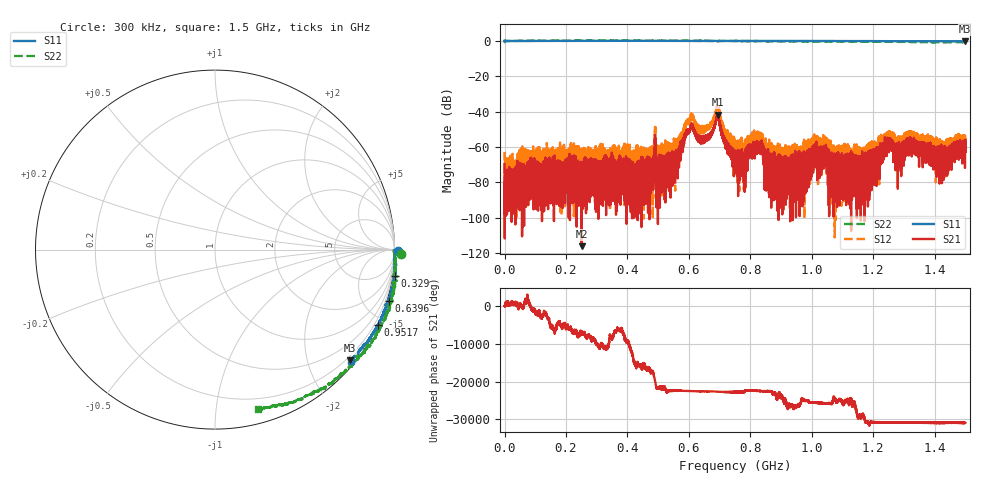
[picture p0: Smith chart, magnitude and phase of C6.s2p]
!Agilent Technologies,N5230C,SG49000117,A.08.50.07
!Agilent N5230C: A.08.50.07
!Date: Thursday, December 07, 2023 05:49:26
!Correction: S11(Full 2 Port(1,2))
!S21(Full 2 Port(1,2))
!S12(Full 2 Port(1,2))
!S22(Full 2 Port(1,2))
!S2P File: Measurements: S11, S21, S12, S22:
# Hz S  RI  R 50
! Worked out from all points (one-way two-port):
!   20001 points, 300 kHz to 1.5 GHz, reference 50 ohm
!   highest |S21| = -41.78 dB at 693.2 MHz (marker M1); lowest = -116.1 dB at 250.9 MHz (marker M2)
!   lowest |S11| = -0.2 dB at 1.497 GHz (marker M3), VSWR 72.33, Z = 6.09 - j140 ohm
!   |S11| at or under -10 dB: nowhere
!   |S22| runs from -0.8 to 0.3 dB; largest |S21 - S12| = 0.0081
!   S11 on the Smith chart (normalised r, x): 300 kHz: open; 329 MHz: -1, -14; 639.6 MHz: -0.22, -6.86; 951.7 MHz: -0.01, -4.54; 1.5 GHz: 0.11, -2.79
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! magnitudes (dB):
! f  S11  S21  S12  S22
! 300 kHz  0.2  -69.5  -62.8  0.3
! 31.64 MHz  0.0  -72.6  -71.6  0.0
! 60.06 MHz  0.0  -85.4  -67.9  0.0
! 250.3 MHz  0.1  -73.0  -70.6  0.2
! 250.9 MHz  0.1  -116.1  -67.3  0.2
! 329 MHz  0.1  -76.3  -67.8  0.2
! 488.8 MHz  0.1  -61.0  -53.2  0.1
! 500.2 MHz  0.1  -75.4  -65.0  0.2
! 552.4 MHz  0.1  -66.5  -68.2  0.1
! 606.9 MHz  0.1  -47.5  -41.8  0.0
! 639.6 MHz  0.1  -57.3  -49.2  0.1
! 693.2 MHz  0.0  -41.8  -36.7  -0.1
! 750.1 MHz  0.0  -63.9  -62.6  0.0
! 832 MHz  0.0  -58.1  -56.4  -0.1
! 884.3 MHz  0.0  -75.9  -70.4  -0.1
! 951.7 MHz  0.0  -73.4  -73.2  -0.2
! 1 GHz  0.0  -62.6  -65.6  -0.2
! 1.163 GHz  -0.1  -67.5  -59.8  -0.4
! 1.25 GHz  -0.1  -57.1  -55.5  -0.4
! 1.429 GHz  -0.2  -78.1  -66.1  -0.7
! 1.497 GHz  -0.2  -58.4  -58.3  -0.7
! 1.5 GHz  -0.2  -61.4  -55.2  -0.8
